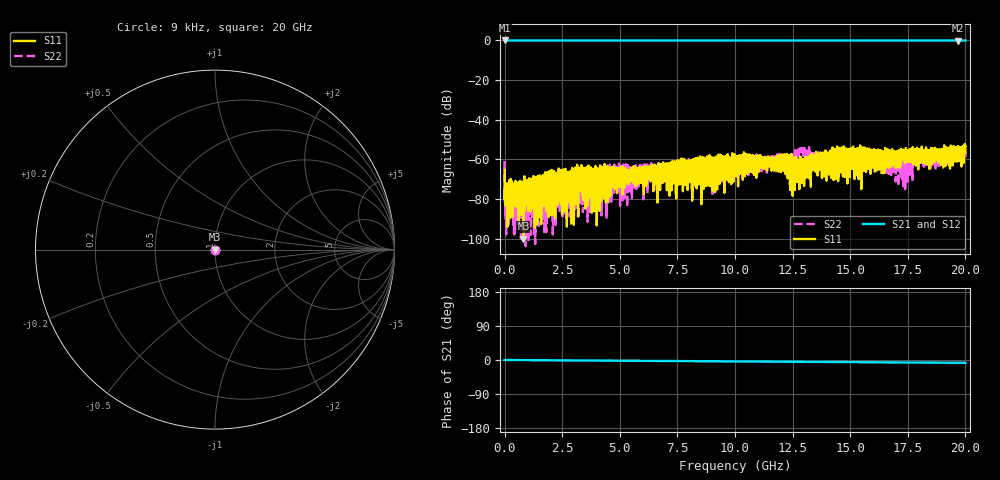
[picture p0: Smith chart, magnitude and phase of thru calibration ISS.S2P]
!  2-Port S-parameters saved by WinCal
! VAR MeasName=S-Parameters (CALIBRATED_DATA) read from VNA (P5004A)
! VAR MeasDate=24/04/2024 14:51:37
! VAR NAME=thru calibration ISS
! VAR FILENAME=thru calibration ISS.S2P
! VAR DATE=24/04/2024 14:51:38
! VAR PHYS_PORTS=1,2
! VAR ObjTypeName=DATASET
! VAR IndexType=Frequency
# Hz S MA R 50
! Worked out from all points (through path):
!   5000 points, 9 kHz to 20 GHz, reference 50 ohm
!   highest |S21| = 0.00 dB at 4.01 MHz (marker M1); lowest = 0.0 dB at 19.69 GHz (marker M2)
!   group delay of S21, straight-line fit = 1.04 ps
!   lowest |S11| = -100.0 dB at 816.2 MHz (marker M3), VSWR 1.00, Z = 50 + j0.000597 ohm
!   |S11| at or under -10 dB: start of sweep to end of sweep
!   |S22| runs from -103.8 to -53.8 dB; largest |S21 - S12| = 0.0012
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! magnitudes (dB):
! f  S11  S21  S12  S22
! 9 kHz  -65.3  0.0  0.0  -60.8
! 4.01 MHz  -75.1  0.0  0.0  -77.5
! 112 MHz  -73.0  0.0  0.0  -75.4
! 816.2 MHz  -100.0  0.0  0.0  -74.8
! 2.168 GHz  -69.5  0.0  0.0  -71.4
! 2.917 GHz  -75.9  0.0  0.0  -81.0
! 3.337 GHz  -65.7  0.0  0.0  -69.3
! 4.861 GHz  -69.3  0.0  0.0  -65.0
! 6.669 GHz  -67.2  0.0  0.0  -63.8
! 8.726 GHz  -65.8  0.0  0.0  -62.9
! 9.066 GHz  -61.9  0.0  0.0  -65.8
! 10 GHz  -59.8  0.0  0.0  -60.4
! 12.02 GHz  -60.3  0.0  0.0  -61.7
! 12.83 GHz  -62.2  0.0  0.0  -55.5
! 13.33 GHz  -58.1  0.0  0.0  -57.2
! 13.97 GHz  -70.8  0.0  0.0  -64.1
! 14.34 GHz  -56.6  0.0  0.0  -55.8
! 16.67 GHz  -61.9  0.0  0.0  -62.8
! 17.4 GHz  -57.8  0.0  0.0  -71.7
! 17.83 GHz  -57.8  0.0  0.0  -58.7
! 19.69 GHz  -53.5  0.0  0.0  -58.4
! 20 GHz  -56.3  0.0  0.0  -57.3
